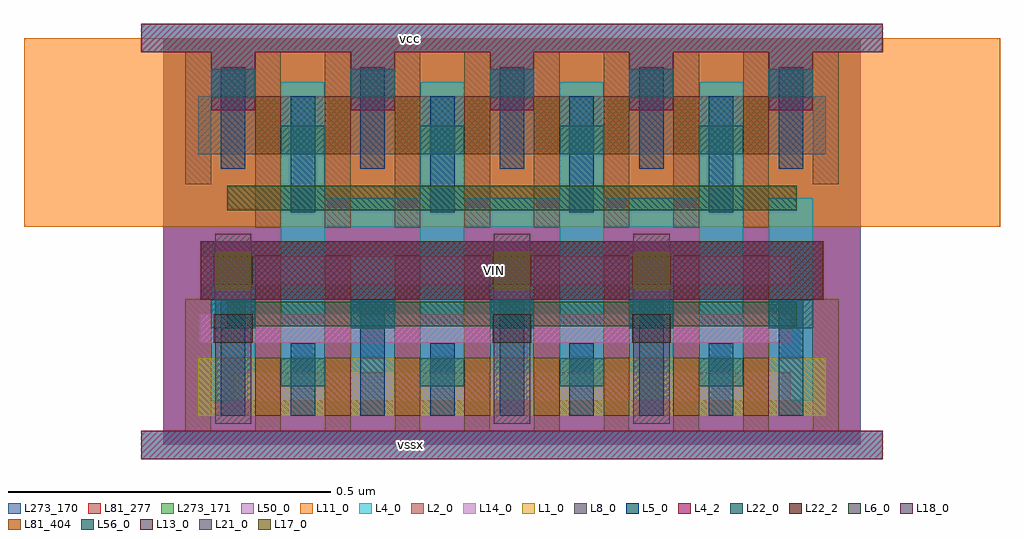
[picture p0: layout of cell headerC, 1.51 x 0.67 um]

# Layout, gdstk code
import gdstk
lib = gdstk.Library(unit=1e-6, precision=5e-10)
def R(c, l, rs):  # rectangles x0, y0, x1, y1
    for r in rs: c.add(gdstk.rectangle(r[:2], r[2:], *l))
def A(c, l, x, y, w, h, nx, ny, dx, dy):  # array of equal rectangles
    R(c, l, [(x+i*dx, y+j*dy, x+i*dx+w, y+j*dy+h) for i in range(nx) for j in range(ny)])
L1_0 = (1, 0)
L2_0 = (2, 0)
L4_0 = (4, 0)
L4_2 = (4, 2)
L5_0 = (5, 0)
L6_0 = (6, 0)
L8_0 = (8, 0)
L11_0 = (11, 0)
L13_0 = (13, 0)
L14_0 = (14, 0)
L17_0 = (17, 0)
L18_0 = (18, 0)
L21_0 = (21, 0)
L22_0 = (22, 0)
L22_2 = (22, 2)
L50_0 = (50, 0)
L56_0 = (56, 0)
L81_277 = (81, 277)
L81_404 = (81, 404)
L273_170 = (273, 170)
L273_171 = (273, 171)

via2_cdns_669190489961 = lib.new_cell('via2_CDNS_669190489961')
R(via2_cdns_669190489961, L14_0, [(-0.04,-0.022,0.04,0.022)])
R(via2_cdns_669190489961, L17_0, [(-0.028,-0.029,0.028,0.029)])
R(via2_cdns_669190489961, L18_0, [(-0.028,-0.05,0.028,0.05)])

via1_cdns_669211785180 = lib.new_cell('via1_CDNS_669211785180')
R(via1_cdns_669211785180, L4_0, [(-0.034,-0.022,0.034,0.022)])
R(via1_cdns_669211785180, L13_0, [(-0.03,-0.022,0.03,0.022)])
R(via1_cdns_669211785180, L14_0, [(-0.052,-0.022,0.052,0.022)])

headerc = lib.new_cell('headerC')
A(headerc, L1_0, 0.089, 0.045, 0.038, 0.09, 9, 1, 0.108, 0)
A(headerc, L1_0, 0.142, 0.045, 0.04, 0.09, 8, 1, 0.108, 0)
R(headerc, L1_0, [(0.054,0.045,0.142,0.135), (0.182,0.045,0.25,0.135), (0.182,0.045,0.25,0.135), (0.29,0.045,0.358,0.135), (0.29,0.045,0.358,0.135), (0.398,0.045,0.466,0.135), (0.398,0.045,0.466,0.135), (0.506,0.045,0.574,0.135), (0.506,0.045,0.574,0.135), (0.614,0.045,0.682,0.135), (0.614,0.045,0.682,0.135), (0.722,0.045,0.79,0.135), (0.722,0.045,0.79,0.135), (0.83,0.045,0.898,0.135), (0.83,0.045,0.898,0.135), (0.938,0.045,1.026,0.135)])
A(headerc, L2_0, 0.142, 0.021, 0.04, 0.024, 8, 2, 0.108, 0.249)
A(headerc, L2_0, 0.142, 0.336, 0.04, 0.024, 8, 2, 0.108, 0.249)
R(headerc, L2_0, [(0.142,0.045,0.182,0.27), (0.142,0.045,0.182,0.27), (0.25,0.045,0.29,0.27), (0.25,0.045,0.29,0.27), (0.358,0.045,0.398,0.27), (0.358,0.045,0.398,0.27), (0.466,0.045,0.506,0.27), (0.466,0.045,0.506,0.27), (0.574,0.045,0.614,0.27), (0.574,0.045,0.614,0.27), (0.682,0.045,0.722,0.27), (0.682,0.045,0.722,0.27), (0.79,0.045,0.83,0.27), (0.79,0.045,0.83,0.27), (0.898,0.045,0.938,0.27), (0.898,0.045,0.938,0.27), (0.142,0.36,0.182,0.585), (0.142,0.36,0.182,0.585), (0.25,0.36,0.29,0.585), (0.25,0.36,0.29,0.585), (0.358,0.36,0.398,0.585), (0.358,0.36,0.398,0.585), (0.466,0.36,0.506,0.585), (0.466,0.36,0.506,0.585), (0.574,0.36,0.614,0.585), (0.574,0.36,0.614,0.585), (0.682,0.36,0.722,0.585), (0.682,0.36,0.722,0.585), (0.79,0.36,0.83,0.585), (0.79,0.36,0.83,0.585), (0.898,0.36,0.938,0.585), (0.898,0.36,0.938,0.585)])
R(headerc, L4_0, [(0.938,0.068,1.006,0.382)])
R(headerc, L4_2, [(-0.034,-0.022,1.114,0.022)])
A(headerc, L5_0, 0.089, 0.045, 0.038, 0.18, 5, 1, 0.216, 0)
A(headerc, L5_0, 0.197, 0.045, 0.038, 0.1125, 4, 1, 0.216, 0)
A(headerc, L5_0, 0.089, 0.0905, 0.038, 0.044, 3, 1, 0.108, 0)
A(headerc, L5_0, 0.521, 0.0905, 0.038, 0.044, 3, 1, 0.216, 0)
A(headerc, L5_0, 0.413, 0.1135, 0.038, 0.044, 3, 1, 0.216, 0)
A(headerc, L5_0, 0.197, 0.36, 0.038, 0.18, 4, 1, 0.216, 0)
A(headerc, L5_0, 0.197, 0.427, 0.038, 0.044, 4, 1, 0.216, 0)
A(headerc, L5_0, 0.089, 0.4275, 0.038, 0.1575, 5, 1, 0.216, 0)
A(headerc, L5_0, 0.089, 0.493, 0.038, 0.044, 5, 1, 0.216, 0)
A(headerc, L8_0, 0.089, 0.45, 0.038, 0.09, 9, 1, 0.108, 0)
A(headerc, L8_0, 0.142, 0.45, 0.04, 0.09, 8, 1, 0.108, 0)
R(headerc, L8_0, [(0.054,0.45,0.142,0.54), (0.182,0.45,0.25,0.54), (0.182,0.45,0.25,0.54), (0.29,0.45,0.358,0.54), (0.29,0.45,0.358,0.54), (0.398,0.45,0.466,0.54), (0.398,0.45,0.466,0.54), (0.506,0.45,0.574,0.54), (0.506,0.45,0.574,0.54), (0.614,0.45,0.682,0.54), (0.614,0.45,0.682,0.54), (0.722,0.45,0.79,0.54), (0.722,0.45,0.79,0.54), (0.83,0.45,0.898,0.54), (0.83,0.45,0.898,0.54), (0.938,0.45,1.026,0.54)])
R(headerc, L11_0, [(-0.216,0.3375,1.296,0.63)])
R(headerc, L21_0, [(0.079,0.225,0.137,0.315), (0.511,0.225,0.569,0.315), (0.727,0.225,0.785,0.315)])
R(headerc, L22_0, [(0.058,0.225,1.022,0.315)])
R(headerc, L22_2, [(0.058,0.225,1.022,0.315)])
R(headerc, L50_0, [(0,0,1.08,0.63)])
A(headerc, L56_0, 0.182, 0.0905, 0.068, 0.044, 4, 2, 0.216, 0.36)
A(headerc, L56_0, 0.074, 0.1805, 0.068, 0.044, 5, 2, 0.216, 0.3575)
A(headerc, L81_277, 0.142, 0.045, 0.04, 0.09, 8, 2, 0.108, 0.45)
R(headerc, L81_277, [(0,0,1.08,0.63)])
A(headerc, L81_404, 0.142, 0.045, 0.04, 0.09, 8, 2, 0.108, 0.405)
R(headerc, L273_170, [(0,0,1.08,0.3375), (0,0,1.08,0.3375), (0.142,0.045,0.182,0.135), (0.142,0.045,0.182,0.135), (0.142,0.045,0.182,0.135), (0.25,0.045,0.29,0.135), (0.25,0.045,0.29,0.135), (0.25,0.045,0.29,0.135), (0.358,0.045,0.398,0.135), (0.358,0.045,0.398,0.135), (0.358,0.045,0.398,0.135), (0.466,0.045,0.506,0.135), (0.466,0.045,0.506,0.135), (0.466,0.045,0.506,0.135), (0.574,0.045,0.614,0.135), (0.574,0.045,0.614,0.135), (0.574,0.045,0.614,0.135), (0.682,0.045,0.722,0.135), (0.682,0.045,0.722,0.135), (0.682,0.045,0.722,0.135), (0.79,0.045,0.83,0.135), (0.79,0.045,0.83,0.135), (0.79,0.045,0.83,0.135), (0.898,0.045,0.938,0.135), (0.898,0.045,0.938,0.135), (0.898,0.045,0.938,0.135)])
R(headerc, L273_171, [(0,0.3375,1.08,0.63), (0,0.3375,1.08,0.63), (0.142,0.45,0.182,0.54), (0.142,0.45,0.182,0.54), (0.142,0.45,0.182,0.54), (0.25,0.45,0.29,0.54), (0.25,0.45,0.29,0.54), (0.25,0.45,0.29,0.54), (0.358,0.45,0.398,0.54), (0.358,0.45,0.398,0.54), (0.358,0.45,0.398,0.54), (0.466,0.45,0.506,0.54), (0.466,0.45,0.506,0.54), (0.466,0.45,0.506,0.54), (0.574,0.45,0.614,0.54), (0.574,0.45,0.614,0.54), (0.574,0.45,0.614,0.54), (0.682,0.45,0.722,0.54), (0.682,0.45,0.722,0.54), (0.682,0.45,0.722,0.54), (0.79,0.45,0.83,0.54), (0.79,0.45,0.83,0.54), (0.79,0.45,0.83,0.54), (0.898,0.45,0.938,0.54), (0.898,0.45,0.938,0.54), (0.898,0.45,0.938,0.54)])
headerc.add(gdstk.FlexPath([(0.972,0.09),(0.108,0.09)], 0.044, ends="flush", simple_path=True, layer=14, datatype=0))  # L14_0
headerc.add(gdstk.FlexPath([(0.972,0.18),(0.108,0.18)], 0.044, ends="flush", simple_path=True, layer=14, datatype=0))  # L14_0
headerc.add(gdstk.FlexPath([(0.972,0.27),(0.108,0.27)], 0.044, ends="flush", simple_path=True, layer=14, datatype=0))  # L14_0
headerc.add(gdstk.FlexPath([(0.54,0.068),(0.54,0.292)], 0.068, ends="flush", simple_path=True, layer=4, datatype=0))  # L4_0
headerc.add(gdstk.FlexPath([(0.756,0.068),(0.756,0.292)], 0.068, ends="flush", simple_path=True, layer=4, datatype=0))  # L4_0
headerc.add(gdstk.FlexPath([(0.108,0.068),(0.108,0.292)], 0.068, ends="flush", simple_path=True, layer=4, datatype=0))  # L4_0
headerc.add(gdstk.FlexPath([(-0.034,0.63),(1.114,0.63)], 0.044, ends="flush", simple_path=True, layer=4, datatype=0))  # L4_0
headerc.add(gdstk.FlexPath([(-0.034,0),(1.114,0)], 0.044, ends="flush", simple_path=True, layer=4, datatype=0))  # L4_0
headerc.add(gdstk.FlexPath([(0.972,0.518),(0.972,0.608)], 0.068, ends="flush", simple_path=True, layer=4, datatype=0))  # L4_0
headerc.add(gdstk.FlexPath([(0.864,0.382),(0.864,0.562)], 0.068, ends="flush", simple_path=True, layer=4, datatype=0))  # L4_0
headerc.add(gdstk.FlexPath([(0.864,0.068),(0.864,0.338)], 0.068, ends="flush", simple_path=True, layer=4, datatype=0))  # L4_0
headerc.add(gdstk.FlexPath([(0.182,0.36),(0.898,0.36)], 0.044, ends="flush", simple_path=True, layer=4, datatype=0))  # L4_0
headerc.add(gdstk.FlexPath([(0.324,0.068),(0.324,0.292)], 0.068, ends="flush", simple_path=True, layer=4, datatype=0))  # L4_0
headerc.add(gdstk.FlexPath([(0.648,0.382),(0.648,0.562)], 0.068, ends="flush", simple_path=True, layer=4, datatype=0))  # L4_0
headerc.add(gdstk.FlexPath([(0.648,0.068),(0.648,0.338)], 0.068, ends="flush", simple_path=True, layer=4, datatype=0))  # L4_0
headerc.add(gdstk.FlexPath([(0.108,0.518),(0.108,0.608)], 0.068, ends="flush", simple_path=True, layer=4, datatype=0))  # L4_0
headerc.add(gdstk.FlexPath([(0.432,0.382),(0.432,0.562)], 0.068, ends="flush", simple_path=True, layer=4, datatype=0))  # L4_0
headerc.add(gdstk.FlexPath([(0.432,0.068),(0.432,0.338)], 0.068, ends="flush", simple_path=True, layer=4, datatype=0))  # L4_0
headerc.add(gdstk.FlexPath([(0.54,0.518),(0.54,0.608)], 0.068, ends="flush", simple_path=True, layer=4, datatype=0))  # L4_0
headerc.add(gdstk.FlexPath([(0.756,0.518),(0.756,0.608)], 0.068, ends="flush", simple_path=True, layer=4, datatype=0))  # L4_0
headerc.add(gdstk.FlexPath([(0.216,0.382),(0.216,0.562)], 0.068, ends="flush", simple_path=True, layer=4, datatype=0))  # L4_0
headerc.add(gdstk.FlexPath([(0.216,0.068),(0.216,0.338)], 0.068, ends="flush", simple_path=True, layer=4, datatype=0))  # L4_0
headerc.add(gdstk.FlexPath([(0.324,0.518),(0.324,0.608)], 0.068, ends="flush", simple_path=True, layer=4, datatype=0))  # L4_0
headerc.add(gdstk.FlexPath([(-0.034,0.63),(1.114,0.63)], 0.044, ends="flush", simple_path=True, layer=4, datatype=2))  # L4_2
headerc.add(gdstk.FlexPath([(0.972,0.518),(0.972,0.608)], 0.068, ends="flush", simple_path=True, layer=4, datatype=2))  # L4_2
headerc.add(gdstk.FlexPath([(0.756,0.518),(0.756,0.608)], 0.068, ends="flush", simple_path=True, layer=4, datatype=2))  # L4_2
headerc.add(gdstk.FlexPath([(0.54,0.518),(0.54,0.608)], 0.068, ends="flush", simple_path=True, layer=4, datatype=2))  # L4_2
headerc.add(gdstk.FlexPath([(0.324,0.518),(0.324,0.608)], 0.068, ends="flush", simple_path=True, layer=4, datatype=2))  # L4_2
headerc.add(gdstk.FlexPath([(0.108,0.518),(0.108,0.608)], 0.068, ends="flush", simple_path=True, layer=4, datatype=2))  # L4_2
headerc.add(gdstk.FlexPath([(1.026,0.4035),(1.026,0.609)], 0.04, ends="flush", simple_path=True, layer=2, datatype=0))  # L2_0
headerc.add(gdstk.FlexPath([(1.026,0.021),(1.026,0.2265)], 0.04, ends="flush", simple_path=True, layer=2, datatype=0))  # L2_0
headerc.add(gdstk.FlexPath([(0.054,0.4035),(0.054,0.609)], 0.04, ends="flush", simple_path=True, layer=2, datatype=0))  # L2_0
headerc.add(gdstk.FlexPath([(0.054,0.021),(0.054,0.2265)], 0.04, ends="flush", simple_path=True, layer=2, datatype=0))  # L2_0
headerc.add(gdstk.FlexPath([(0.099,0.2025),(0.981,0.2025)], 0.038, ends="flush", simple_path=True, layer=6, datatype=0))  # L6_0
headerc.add(gdstk.FlexPath([(0.099,0.3825),(0.981,0.3825)], 0.038, ends="flush", simple_path=True, layer=6, datatype=0))  # L6_0
headerc.add(gdstk.FlexPath([(0.108,0.327),(0.108,0.033)], 0.056, ends="flush", simple_path=True, layer=18, datatype=0))  # L18_0
headerc.add(gdstk.FlexPath([(0.756,0.327),(0.756,0.033)], 0.056, ends="flush", simple_path=True, layer=18, datatype=0))  # L18_0
headerc.add(gdstk.FlexPath([(0.54,0.327),(0.54,0.033)], 0.056, ends="flush", simple_path=True, layer=18, datatype=0))  # L18_0
headerc.add(gdstk.Reference(via2_cdns_669190489961, (0.108,0.27)))
headerc.add(gdstk.Reference(via2_cdns_669190489961, (0.54,0.27)))
headerc.add(gdstk.Reference(via2_cdns_669190489961, (0.756,0.27)))
headerc.add(gdstk.Reference(via1_cdns_669211785180, (0.54,0.18)))
headerc.add(gdstk.Reference(via1_cdns_669211785180, (0.108,0.18)))
headerc.add(gdstk.Reference(via1_cdns_669211785180, (0.54,0.27)))
headerc.add(gdstk.Reference(via1_cdns_669211785180, (0.756,0.27)))
headerc.add(gdstk.Reference(via1_cdns_669211785180, (0.108,0.27)))
headerc.add(gdstk.Reference(via1_cdns_669211785180, (0.756,0.18)))
headerc.add(gdstk.Reference(via1_cdns_669211785180, (0.108,0.27)))
headerc.add(gdstk.Reference(via1_cdns_669211785180, (0.108,0.18)))
headerc.add(gdstk.Reference(via1_cdns_669211785180, (0.54,0.27)))
headerc.add(gdstk.Reference(via1_cdns_669211785180, (0.54,0.18)))
headerc.add(gdstk.Reference(via1_cdns_669211785180, (0.756,0.27)))
headerc.add(gdstk.Reference(via1_cdns_669211785180, (0.756,0.18)))
headerc.add(gdstk.Label('vcc', (0.382,0.63), layer=4, texttype=2))
headerc.add(gdstk.Label('vssx', (0.382,0), layer=4, texttype=2))
headerc.add(gdstk.Label('VIN', (0.5135,0.2695), layer=22, texttype=2))

lib.write_gds('headerC.gds')
